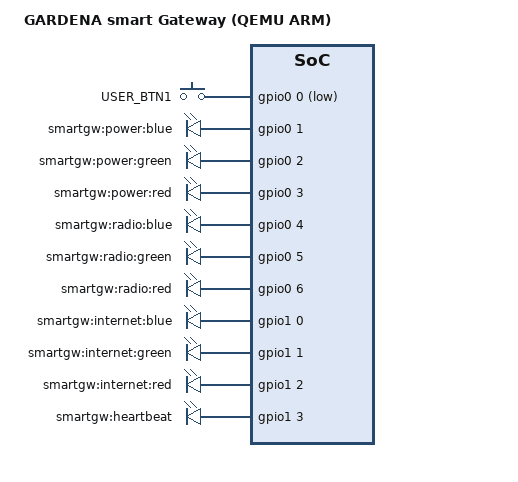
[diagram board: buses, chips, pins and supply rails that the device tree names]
// SPDX-License-Identifier: GPL-2.0+
/*
 * Device Tree file for emulated (ARM) GARDENA smart Gateways
 *
 *  Copyright (C) 2026 GARDENA GmbH
 */

#include "versatile-pb.dts"
#include <dt-bindings/gpio/gpio.h>
#include <dt-bindings/input/input.h>

/ {
	model = "GARDENA smart Gateway (QEMU ARM)";
	compatible = "gardena,smart-gateway-qemuarm", "arm,versatile-pb";

	gpio-keys {
		compatible = "gpio-keys";

		user_btn1 {
			label = "USER_BTN1";
			gpios = <&gpio0 0 GPIO_ACTIVE_LOW>;
			linux,code = <KEY_PROG1>;
		};
	};

	leds {
		compatible = "gpio-leds";

		power_blue {
			label = "smartgw:power:blue";
			gpios = <&gpio0 1 GPIO_ACTIVE_HIGH>;
			default-state = "off";
		};

		power_green {
			label = "smartgw:power:green";
			gpios = <&gpio0 2 GPIO_ACTIVE_HIGH>;
			linux,default-trigger = "timer";
		};

		power_red {
			label = "smartgw:power:red";
			gpios = <&gpio0 3 GPIO_ACTIVE_HIGH>;
			default-state = "off";
		};

		radio_blue {
			label = "smartgw:radio:blue";
			gpios = <&gpio0 4 GPIO_ACTIVE_HIGH>;
			default-state = "off";
		};

		radio_green {
			label = "smartgw:radio:green";
			gpios = <&gpio0 5 GPIO_ACTIVE_HIGH>;
			default-state = "off";
		};

		radio_red {
			label = "smartgw:radio:red";
			gpios = <&gpio0 6 GPIO_ACTIVE_HIGH>;
			default-state = "off";
		};

		internet_blue {
			label = "smartgw:internet:blue";
			gpios = <&gpio1 0 GPIO_ACTIVE_HIGH>;
			default-state = "off";
		};

		internet_green {
			label = "smartgw:internet:green";
			gpios = <&gpio1 1 GPIO_ACTIVE_HIGH>;
			default-state = "off";
		};

		internet_red {
			label = "smartgw:internet:red";
			gpios = <&gpio1 2 GPIO_ACTIVE_HIGH>;
			default-state = "off";
		};

		heartbeat {
			label = "smartgw:heartbeat";
			gpios = <&gpio1 3 GPIO_ACTIVE_HIGH>;
			linux,default-trigger = "heartbeat";
		};
	};
};
